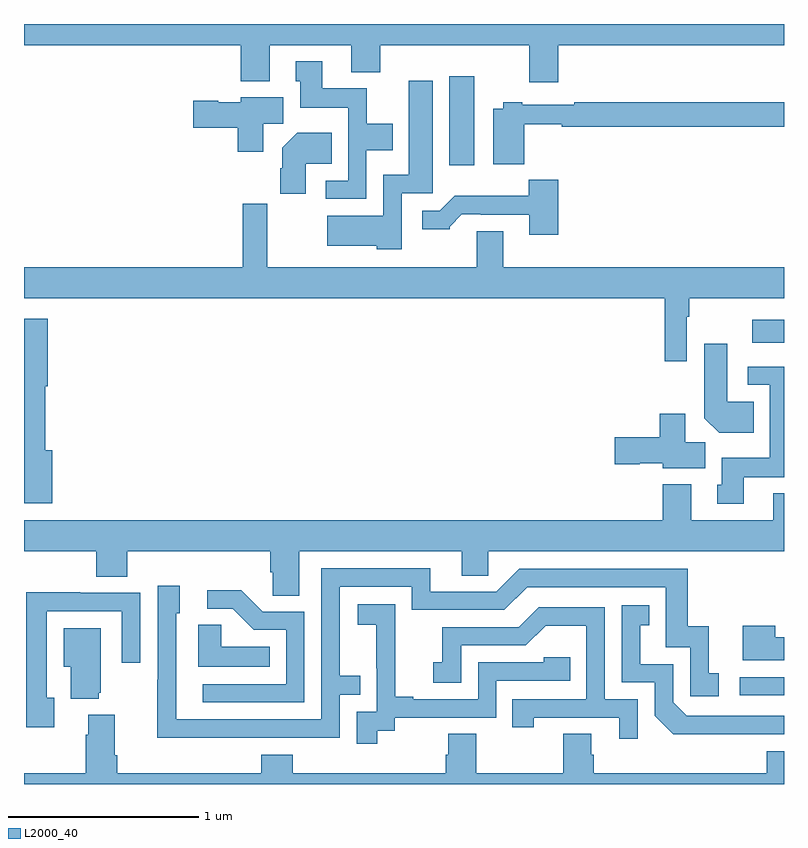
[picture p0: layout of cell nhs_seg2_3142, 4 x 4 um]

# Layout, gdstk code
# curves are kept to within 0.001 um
import gdstk
lib = gdstk.Library(unit=1e-6, precision=1e-09)
def R(c, l, rs):  # rectangles x0, y0, x1, y1
    for r in rs: c.add(gdstk.rectangle(r[:2], r[2:], *l))
def P(c, l, *ps):  # polygons
    for p in ps: c.add(gdstk.Polygon(p, *l))
L2000_40 = (2000, 40)

nhs_seg2_3142 = lib.new_cell('nhs_seg2_3142')
R(nhs_seg2_3142, L2000_40, [(280.767,592.266,281,592.362), (280.833,594.122,281,594.244), (279.239,595.056,279.37,595.525)])
P(nhs_seg2_3142, L2000_40, [(279.812,595.688),(281,595.688),(281,595.8),(277,595.8),(277,595.688),(278.141,595.688),(278.141,595.499),(278.293,595.499),(278.293,595.688),(278.723,595.688),(278.723,595.547),(278.876,595.547),(278.876,595.688),(279.659,595.688),(279.659,595.494),(279.812,595.494)],
  [(278.802,595.136),(278.941,595.136),(278.941,595.276),(278.805,595.276),(278.805,595.462),(278.569,595.462),(278.569,595.603),(278.429,595.603),(278.429,595.5),(278.453,595.5),(278.453,595.358),(278.706,595.358),(278.706,594.975),(278.589,594.975),(278.589,594.879),(278.802,594.879)],
  [(278.988,594.909),(279.151,594.909),(279.151,595.501),(279.026,595.501),(279.026,595.006),(278.892,595.006),(278.892,594.79),(278.595,594.79),(278.595,594.632),(278.856,594.632),(278.856,594.614),(278.988,594.614)],
  [(278.26,595.276),(278.365,595.276),(278.365,595.414),(278.142,595.414),(278.142,595.387),(278.022,595.387),(278.022,595.395),(277.89,595.395),(277.89,595.253),(278.126,595.253),(278.126,595.128),(278.26,595.128)],
  [(279.632,595.273),(279.83,595.273),(279.83,595.258),(281,595.258),(281,595.387),(279.895,595.387),(279.895,595.374),(279.622,595.374),(279.622,595.387),(279.522,595.387),(279.522,595.354),(279.47,595.354),(279.47,595.061),(279.632,595.061)],
  [(278.482,595.064),(278.621,595.064),(278.621,595.228),(278.438,595.228),(278.36,595.15),(278.36,595.04),(278.348,595.04),(278.348,594.906),(278.482,594.906)],
  [(279.812,594.979),(279.657,594.979),(279.657,594.895),(279.268,594.895),(279.189,594.816),(279.096,594.816),(279.096,594.719),(279.24,594.719),(279.24,594.734),(279.304,594.798),(279.403,594.798),(279.403,594.795),(279.659,594.795),(279.659,594.69),(279.812,594.69)],
  [(280.488,594.26),(280.501,594.26),(280.501,594.356),(281,594.356),(281,594.52),(279.523,594.52),(279.523,594.71),(279.383,594.71),(279.383,594.52),(278.281,594.52),(278.281,594.853),(278.152,594.853),(278.152,594.52),(277,594.52),(277,594.356),(280.372,594.356),(280.372,594.024),(280.488,594.024)],
  [(277.148,593.556),(277.111,593.556),(277.111,593.894),(277.124,593.894),(277.124,594.25),(277,594.25),(277,593.277),(277.148,593.277)],
  [(280.841,593.812),(280.702,593.812),(280.702,594.118),(280.58,594.118),(280.58,593.726),(280.658,593.648),(280.841,593.648)],
  [(280.789,593.414),(281,593.414),(281,593.997),(280.809,593.997),(280.809,593.901),(280.926,593.901),(280.926,593.518),(280.673,593.518),(280.673,593.376),(280.649,593.376),(280.649,593.274),(280.789,593.274)],
  [(280.585,593.6),(280.48,593.6),(280.48,593.749),(280.346,593.749),(280.346,593.624),(280.11,593.624),(280.11,593.482),(280.242,593.482),(280.242,593.489),(280.362,593.489),(280.362,593.462),(280.585,593.462)],
  [(277,593.024),(277.379,593.024),(277.379,592.891),(277.544,592.891),(277.544,593.024),(278.297,593.024),(278.297,592.915),(278.31,592.915),(278.31,592.792),(278.449,592.792),(278.449,593.024),(279.305,593.024),(279.305,592.897),(279.444,592.897),(279.444,593.024),(281,593.024),(281,593.329),(280.943,593.329),(280.943,593.188),(280.513,593.188),(280.513,593.377),(280.361,593.377),(280.361,593.188),(277,593.188)],
  [(278.165,592.044),(278.661,592.044),(278.661,592.269),(278.771,592.269),(278.771,592.37),(278.661,592.37),(278.661,592.839),(279.042,592.839),(279.042,592.716),(279.528,592.716),(279.648,592.836),(280.377,592.836),(280.377,592.521),(280.506,592.521),(280.506,592.263),(280.657,592.263),(280.657,592.383),(280.604,592.383),(280.604,592.63),(280.493,592.63),(280.493,592.932),(279.606,592.932),(279.486,592.812),(279.139,592.812),(279.139,592.935),(278.565,592.935),(278.565,592.14),(277.8,592.14),(277.8,592.698),(277.819,592.698),(277.819,592.843),(277.704,592.843),(277.704,592.349),(277.702,592.349),(277.702,592.043)],
  [(278.475,592.707),(278.256,592.707),(278.143,592.82),(277.965,592.82),(277.965,592.722),(278.099,592.722),(278.21,592.611),(278.379,592.611),(278.379,592.326),(277.941,592.326),(277.941,592.23),(278.475,592.23)],
  [(277.159,592.254),(277.119,592.254),(277.119,592.71),(277.515,592.71),(277.515,592.437),(277.611,592.437),(277.611,592.806),(277.295,592.806),(277.295,592.808),(277.011,592.808),(277.011,592.098),(277.159,592.098)],
  [(278.86,592.081),(278.952,592.081),(278.952,592.149),(279.486,592.149),(279.486,592.344),(279.875,592.344),(279.875,592.467),(279.735,592.467),(279.735,592.44),(279.39,592.44),(279.39,592.245),(279.049,592.245),(279.049,592.258),(278.954,592.258),(278.954,592.541),(278.955,592.541),(278.955,592.747),(278.757,592.747),(278.757,592.637),(278.855,592.637),(278.855,592.409),(278.856,592.409),(278.856,592.179),(278.751,592.179),(278.751,592.011),(278.86,592.011)],
  [(280.826,592.062),(281,592.062),(281,592.158),(280.488,592.158),(280.416,592.23),(280.416,592.431),(280.243,592.431),(280.243,592.635),(280.292,592.635),(280.292,592.741),(280.146,592.741),(280.146,592.335),(280.32,592.335),(280.32,592.158),(280.418,592.061)],
  [(280.23,592.245),(280.056,592.245),(280.056,592.731),(279.71,592.731),(279.605,592.626),(279.202,592.626),(279.202,592.441),(279.153,592.441),(279.153,592.332),(279.3,592.332),(279.3,592.53),(279.642,592.53),(279.746,592.634),(279.96,592.634),(279.96,592.245),(279.571,592.245),(279.571,592.098),(279.682,592.098),(279.682,592.149),(280.133,592.149),(280.133,592.038),(280.23,592.038)],
  [(278.294,592.522),(278.037,592.522),(278.037,592.637),(277.916,592.637),(277.916,592.418),(278.294,592.418)],
  [(281,592.573),(280.955,592.573),(280.955,592.633),(280.784,592.633),(280.784,592.451),(281,592.451)],
  [(277.394,592.281),(277.405,592.281),(277.405,592.621),(277.208,592.621),(277.208,592.418),(277.247,592.418),(277.247,592.25),(277.394,592.25)],
  [(281,591.973),(280.91,591.973),(280.91,591.856),(279.998,591.856),(279.998,591.954),(279.985,591.954),(279.985,592.064),(279.838,592.064),(279.838,591.856),(279.381,591.856),(279.381,592.064),(279.233,592.064),(279.233,591.954),(279.221,591.954),(279.221,591.856),(278.414,591.856),(278.414,591.955),(278.249,591.955),(278.249,591.856),(277.49,591.856),(277.49,591.952),(277.477,591.952),(277.477,592.165),(277.337,592.165),(277.337,592.058),(277.325,592.058),(277.325,591.856),(277,591.856),(277,591.8),(281,591.8)])

lib.write_gds('nhs_seg2_3142.gds')
